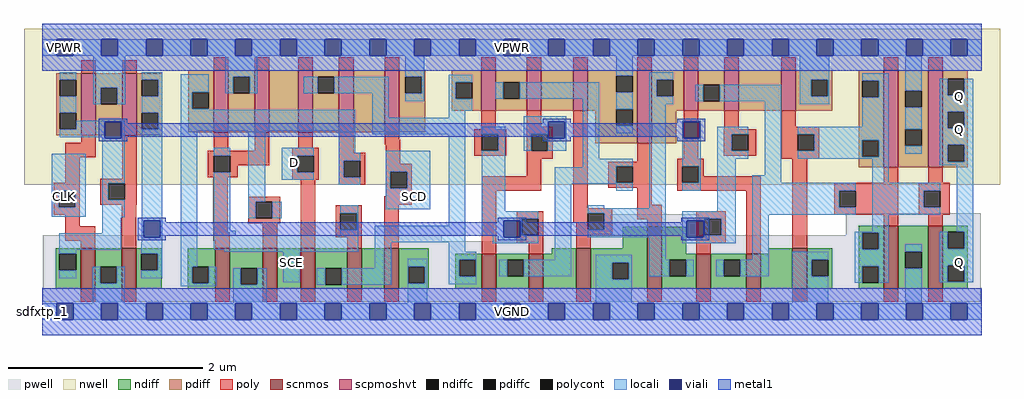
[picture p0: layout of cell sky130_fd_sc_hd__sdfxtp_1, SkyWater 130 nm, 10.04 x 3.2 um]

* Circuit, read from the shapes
.subckt sky130_fd_sc_hd__sdfxtp_1 CLK D SCD SCE VGND VNB VPB VPWR Q
XM1 VGND CLK n1 VNB sky130_fd_pr__nfet_01v8 w=0.42 l=0.15
XM2 n2 n1 VGND VNB sky130_fd_pr__nfet_01v8 w=0.42 l=0.15
XM3 VGND SCE n3 VNB sky130_fd_pr__nfet_01v8 w=0.42 l=0.15
XM4 n4 n3 VGND VNB sky130_fd_pr__nfet_01v8 w=0.42 l=0.15
XM5 n5 D n4 VNB sky130_fd_pr__nfet_01v8 w=0.42 l=0.15
XM6 n6 SCE n5 VNB sky130_fd_pr__nfet_01v8 w=0.42 l=0.15
XM7 VGND SCD n6 VNB sky130_fd_pr__nfet_01v8 w=0.42 l=0.15
XM8 n7 n1 n5 VNB sky130_fd_pr__nfet_01v8 w=0.36 l=0.15
XM9 n8 n2 n7 VNB sky130_fd_pr__nfet_01v8 w=0.36 l=0.15
XM10 VGND n9 n8 VNB sky130_fd_pr__nfet_01v8 w=0.42 l=0.15
XM11 n9 n7 VGND VNB sky130_fd_pr__nfet_01v8 w=0.64 l=0.15
XM12 n10 n2 n9 VNB sky130_fd_pr__nfet_01v8 w=0.36 l=0.15
XM13 n11 n1 n10 VNB sky130_fd_pr__nfet_01v8 w=0.36 l=0.15
XM14 VGND n12 n11 VNB sky130_fd_pr__nfet_01v8 w=0.42 l=0.15
XM15 VGND n10 n12 VNB sky130_fd_pr__nfet_01v8 w=0.65 l=0.15
XM16 Q n12 VGND VNB sky130_fd_pr__nfet_01v8 w=0.65 l=0.15
XM17 VPWR CLK n1 VPB sky130_fd_pr__pfet_01v8_hvt w=0.64 l=0.15
XM18 n2 n1 VPWR VPB sky130_fd_pr__pfet_01v8_hvt w=0.64 l=0.15
XM19 VPWR SCE n3 VPB sky130_fd_pr__pfet_01v8_hvt w=0.64 l=0.15
XM20 n13 SCE VPWR VPB sky130_fd_pr__pfet_01v8_hvt w=0.64 l=0.15
XM21 n5 D n13 VPB sky130_fd_pr__pfet_01v8_hvt w=0.64 l=0.15
XM22 n14 n3 n5 VPB sky130_fd_pr__pfet_01v8_hvt w=0.64 l=0.15
XM23 VPWR SCD n14 VPB sky130_fd_pr__pfet_01v8_hvt w=0.64 l=0.15
XM24 n7 n2 n5 VPB sky130_fd_pr__pfet_01v8_hvt w=0.42 l=0.15
XM25 n15 n1 n7 VPB sky130_fd_pr__pfet_01v8_hvt w=0.42 l=0.15
XM26 VPWR n9 n15 VPB sky130_fd_pr__pfet_01v8_hvt w=0.42 l=0.15
XM27 n9 n7 VPWR VPB sky130_fd_pr__pfet_01v8_hvt w=0.75 l=0.15
XM28 n10 n1 n9 VPB sky130_fd_pr__pfet_01v8_hvt w=0.42 l=0.15
XM29 n16 n2 n10 VPB sky130_fd_pr__pfet_01v8_hvt w=0.42 l=0.15
XM30 VPWR n12 n16 VPB sky130_fd_pr__pfet_01v8_hvt w=0.42 l=0.15
XM31 VPWR n10 n12 VPB sky130_fd_pr__pfet_01v8_hvt w=1 l=0.15
XM32 Q n12 VPWR VPB sky130_fd_pr__pfet_01v8_hvt w=1 l=0.15
.ends

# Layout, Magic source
magic
tech sky130B
magscale 1 2
<< nwell >>
rect -38 261 1970 582
<< pwell >>
rect 1168 157 1350 201
rect 1653 157 1930 203
rect 1 145 821 157
rect 1022 145 1930 157
rect 1 21 1930 145
rect 29 -17 63 21
<< scnmos >>
rect 79 47 109 131
rect 163 47 193 131
rect 355 47 385 131
rect 453 47 483 131
rect 531 47 561 131
rect 627 47 657 131
rect 703 47 733 131
rect 904 47 934 119
rect 1000 47 1030 119
rect 1098 47 1128 131
rect 1244 47 1274 175
rect 1345 47 1375 119
rect 1448 47 1478 119
rect 1543 47 1573 131
rect 1731 47 1761 177
rect 1822 47 1852 177
<< scpmoshvt >>
rect 80 363 110 491
rect 164 363 194 491
rect 352 369 382 497
rect 437 369 467 497
rect 526 369 556 497
rect 610 369 640 497
rect 704 369 734 497
rect 903 413 933 497
rect 996 413 1026 497
rect 1092 413 1122 497
rect 1224 347 1254 497
rect 1319 413 1349 497
rect 1403 413 1433 497
rect 1520 413 1550 497
rect 1731 297 1761 497
rect 1822 297 1852 497
<< ndiff >>
rect 27 119 79 131
rect 27 85 35 119
rect 69 85 79 119
rect 27 47 79 85
rect 109 93 163 131
rect 109 59 119 93
rect 153 59 163 93
rect 109 47 163 59
rect 193 119 245 131
rect 193 85 203 119
rect 237 85 245 119
rect 193 47 245 85
rect 299 93 355 131
rect 299 59 308 93
rect 342 59 355 93
rect 299 47 355 59
rect 385 89 453 131
rect 385 55 408 89
rect 442 55 453 89
rect 385 47 453 55
rect 483 47 531 131
rect 561 89 627 131
rect 561 55 582 89
rect 616 55 627 89
rect 561 47 627 55
rect 657 47 703 131
rect 733 93 795 131
rect 1194 131 1244 175
rect 1048 119 1098 131
rect 733 59 753 93
rect 787 59 795 93
rect 733 47 795 59
rect 849 107 904 119
rect 849 73 857 107
rect 891 73 904 107
rect 849 47 904 73
rect 934 107 1000 119
rect 934 73 956 107
rect 990 73 1000 107
rect 934 47 1000 73
rect 1030 47 1098 119
rect 1128 101 1244 131
rect 1128 67 1172 101
rect 1206 67 1244 101
rect 1128 47 1244 67
rect 1274 119 1324 175
rect 1679 162 1731 177
rect 1493 119 1543 131
rect 1274 107 1345 119
rect 1274 73 1290 107
rect 1324 73 1345 107
rect 1274 47 1345 73
rect 1375 107 1448 119
rect 1375 73 1402 107
rect 1436 73 1448 107
rect 1375 47 1448 73
rect 1478 47 1543 119
rect 1573 107 1625 131
rect 1573 73 1583 107
rect 1617 73 1625 107
rect 1573 47 1625 73
rect 1679 128 1687 162
rect 1721 128 1731 162
rect 1679 94 1731 128
rect 1679 60 1687 94
rect 1721 60 1731 94
rect 1679 47 1731 60
rect 1761 123 1822 177
rect 1761 89 1775 123
rect 1809 89 1822 123
rect 1761 47 1822 89
rect 1852 164 1904 177
rect 1852 130 1862 164
rect 1896 130 1904 164
rect 1852 96 1904 130
rect 1852 62 1862 96
rect 1896 62 1904 96
rect 1852 47 1904 62
<< pdiff >>
rect 28 477 80 491
rect 28 443 36 477
rect 70 443 80 477
rect 28 409 80 443
rect 28 375 36 409
rect 70 375 80 409
rect 28 363 80 375
rect 110 461 164 491
rect 110 427 120 461
rect 154 427 164 461
rect 110 363 164 427
rect 194 477 246 491
rect 194 443 204 477
rect 238 443 246 477
rect 194 409 246 443
rect 194 375 204 409
rect 238 375 246 409
rect 194 363 246 375
rect 300 452 352 497
rect 300 418 308 452
rect 342 418 352 452
rect 300 369 352 418
rect 382 483 437 497
rect 382 449 392 483
rect 426 449 437 483
rect 382 369 437 449
rect 467 369 526 497
rect 556 483 610 497
rect 556 449 566 483
rect 600 449 610 483
rect 556 369 610 449
rect 640 369 704 497
rect 734 483 788 497
rect 734 449 746 483
rect 780 449 788 483
rect 734 369 788 449
rect 842 472 903 497
rect 842 438 850 472
rect 884 438 903 472
rect 842 413 903 438
rect 933 472 996 497
rect 933 438 948 472
rect 982 438 996 472
rect 933 413 996 438
rect 1026 413 1092 497
rect 1122 485 1224 497
rect 1122 451 1180 485
rect 1214 451 1224 485
rect 1122 417 1224 451
rect 1122 413 1180 417
rect 1137 383 1180 413
rect 1214 383 1224 417
rect 1137 347 1224 383
rect 1254 477 1319 497
rect 1254 443 1264 477
rect 1298 443 1319 477
rect 1254 413 1319 443
rect 1349 467 1403 497
rect 1349 433 1359 467
rect 1393 433 1403 467
rect 1349 413 1403 433
rect 1433 413 1520 497
rect 1550 477 1625 497
rect 1550 443 1582 477
rect 1616 443 1625 477
rect 1550 413 1625 443
rect 1679 475 1731 497
rect 1679 441 1687 475
rect 1721 441 1731 475
rect 1254 347 1304 413
rect 1679 353 1731 441
rect 1679 319 1687 353
rect 1721 319 1731 353
rect 1679 297 1731 319
rect 1761 455 1822 497
rect 1761 421 1775 455
rect 1809 421 1822 455
rect 1761 375 1822 421
rect 1761 341 1775 375
rect 1809 341 1822 375
rect 1761 297 1822 341
rect 1852 479 1904 497
rect 1852 445 1862 479
rect 1896 445 1904 479
rect 1852 411 1904 445
rect 1852 377 1862 411
rect 1896 377 1904 411
rect 1852 343 1904 377
rect 1852 309 1862 343
rect 1896 309 1904 343
rect 1852 297 1904 309
<< ndiffc >>
rect 35 85 69 119
rect 119 59 153 93
rect 203 85 237 119
rect 308 59 342 93
rect 408 55 442 89
rect 582 55 616 89
rect 753 59 787 93
rect 857 73 891 107
rect 956 73 990 107
rect 1172 67 1206 101
rect 1290 73 1324 107
rect 1402 73 1436 107
rect 1583 73 1617 107
rect 1687 128 1721 162
rect 1687 60 1721 94
rect 1775 89 1809 123
rect 1862 130 1896 164
rect 1862 62 1896 96
<< pdiffc >>
rect 36 443 70 477
rect 36 375 70 409
rect 120 427 154 461
rect 204 443 238 477
rect 204 375 238 409
rect 308 418 342 452
rect 392 449 426 483
rect 566 449 600 483
rect 746 449 780 483
rect 850 438 884 472
rect 948 438 982 472
rect 1180 451 1214 485
rect 1180 383 1214 417
rect 1264 443 1298 477
rect 1359 433 1393 467
rect 1582 443 1616 477
rect 1687 441 1721 475
rect 1687 319 1721 353
rect 1775 421 1809 455
rect 1775 341 1809 375
rect 1862 445 1896 479
rect 1862 377 1896 411
rect 1862 309 1896 343
<< poly >>
rect 80 491 110 517
rect 164 491 194 517
rect 352 497 382 523
rect 437 497 467 523
rect 526 497 556 523
rect 610 497 640 523
rect 704 497 734 523
rect 903 497 933 523
rect 996 497 1026 523
rect 1092 497 1122 523
rect 1224 497 1254 523
rect 1319 497 1349 523
rect 1403 497 1433 523
rect 1520 497 1550 523
rect 1731 497 1761 523
rect 1822 497 1852 523
rect 903 375 933 413
rect 996 381 1026 413
rect 80 348 110 363
rect 47 318 110 348
rect 47 265 77 318
rect 164 274 194 363
rect 352 331 382 369
rect 437 331 467 369
rect 526 337 556 369
rect 340 321 467 331
rect 340 287 352 321
rect 386 301 467 321
rect 514 321 568 337
rect 386 287 402 301
rect 340 277 402 287
rect 514 287 524 321
rect 558 287 568 321
rect 23 249 77 265
rect 23 215 33 249
rect 67 215 77 249
rect 119 264 194 274
rect 119 230 135 264
rect 169 230 194 264
rect 119 220 194 230
rect 23 199 77 215
rect 47 176 77 199
rect 47 146 109 176
rect 79 131 109 146
rect 163 131 193 220
rect 351 163 381 277
rect 514 271 568 287
rect 610 327 640 369
rect 704 354 734 369
rect 888 365 954 375
rect 704 343 736 354
rect 610 311 664 327
rect 610 277 620 311
rect 654 277 664 311
rect 423 226 489 236
rect 423 192 439 226
rect 473 192 489 226
rect 423 182 489 192
rect 351 146 385 163
rect 355 131 385 146
rect 453 131 483 182
rect 531 131 561 271
rect 610 261 664 277
rect 706 304 736 343
rect 888 331 904 365
rect 938 331 954 365
rect 888 321 954 331
rect 996 365 1050 381
rect 996 331 1006 365
rect 1040 331 1050 365
rect 996 315 1050 331
rect 706 288 760 304
rect 706 254 716 288
rect 750 254 760 288
rect 996 279 1026 315
rect 706 238 760 254
rect 703 220 760 238
rect 904 249 1026 279
rect 603 203 657 219
rect 603 169 613 203
rect 647 169 657 203
rect 603 153 657 169
rect 627 131 657 153
rect 703 131 733 220
rect 904 119 934 249
rect 1092 213 1122 413
rect 1224 309 1254 347
rect 1319 315 1349 413
rect 1403 375 1433 413
rect 1520 381 1550 413
rect 1402 365 1468 375
rect 1402 331 1418 365
rect 1452 331 1468 365
rect 1402 321 1468 331
rect 1520 365 1598 381
rect 1520 331 1554 365
rect 1588 331 1598 365
rect 1520 315 1598 331
rect 1164 299 1254 309
rect 1164 265 1180 299
rect 1214 265 1254 299
rect 1164 255 1254 265
rect 1224 220 1254 255
rect 1306 299 1360 315
rect 1306 265 1316 299
rect 1350 279 1360 299
rect 1350 265 1478 279
rect 1306 249 1478 265
rect 976 191 1030 207
rect 976 157 986 191
rect 1020 157 1030 191
rect 1092 203 1172 213
rect 1092 183 1122 203
rect 976 141 1030 157
rect 1000 119 1030 141
rect 1098 169 1122 183
rect 1156 169 1172 203
rect 1224 190 1274 220
rect 1244 175 1274 190
rect 1345 191 1406 207
rect 1098 159 1172 169
rect 1098 131 1128 159
rect 1345 157 1362 191
rect 1396 157 1406 191
rect 1345 141 1406 157
rect 1345 119 1375 141
rect 1448 119 1478 249
rect 1543 131 1573 315
rect 1731 265 1761 297
rect 1822 265 1852 297
rect 1629 249 1761 265
rect 1629 215 1639 249
rect 1673 215 1761 249
rect 1629 199 1761 215
rect 1803 249 1867 265
rect 1803 215 1813 249
rect 1847 215 1867 249
rect 1803 199 1867 215
rect 1731 177 1761 199
rect 1822 177 1852 199
rect 79 21 109 47
rect 163 21 193 47
rect 355 21 385 47
rect 453 21 483 47
rect 531 21 561 47
rect 627 21 657 47
rect 703 21 733 47
rect 904 21 934 47
rect 1000 21 1030 47
rect 1098 21 1128 47
rect 1244 21 1274 47
rect 1345 21 1375 47
rect 1448 21 1478 47
rect 1543 21 1573 47
rect 1731 21 1761 47
rect 1822 21 1852 47
<< polycont >>
rect 352 287 386 321
rect 524 287 558 321
rect 33 215 67 249
rect 135 230 169 264
rect 620 277 654 311
rect 439 192 473 226
rect 904 331 938 365
rect 1006 331 1040 365
rect 716 254 750 288
rect 613 169 647 203
rect 1418 331 1452 365
rect 1554 331 1588 365
rect 1180 265 1214 299
rect 1316 265 1350 299
rect 986 157 1020 191
rect 1122 169 1156 203
rect 1362 157 1396 191
rect 1639 215 1673 249
rect 1813 215 1847 249
<< locali >>
rect 0 527 29 561
rect 63 527 121 561
rect 155 527 213 561
rect 247 527 305 561
rect 339 527 397 561
rect 431 527 489 561
rect 523 527 581 561
rect 615 527 673 561
rect 707 527 765 561
rect 799 527 857 561
rect 891 527 949 561
rect 983 527 1041 561
rect 1075 527 1133 561
rect 1167 527 1225 561
rect 1259 527 1317 561
rect 1351 527 1409 561
rect 1443 527 1501 561
rect 1535 527 1593 561
rect 1627 527 1685 561
rect 1719 527 1777 561
rect 1811 527 1869 561
rect 1903 527 1932 561
rect 36 477 70 493
rect 36 409 70 443
rect 104 461 170 527
rect 104 427 120 461
rect 154 427 170 461
rect 204 477 246 493
rect 238 443 246 477
rect 204 409 246 443
rect 70 391 169 393
rect 70 375 128 391
rect 36 359 128 375
rect 123 357 128 359
rect 162 357 169 391
rect 19 249 89 325
rect 19 215 33 249
rect 67 215 89 249
rect 19 195 89 215
rect 123 264 169 357
rect 123 230 135 264
rect 123 194 169 230
rect 238 375 246 409
rect 123 161 162 194
rect 35 127 162 161
rect 204 187 246 375
rect 204 153 208 187
rect 242 153 246 187
rect 204 143 246 153
rect 35 119 69 127
rect 203 119 246 143
rect 35 69 69 85
rect 103 59 119 93
rect 153 59 169 93
rect 237 85 246 119
rect 203 69 246 85
rect 284 452 342 489
rect 284 418 308 452
rect 376 483 442 527
rect 746 483 785 527
rect 376 449 392 483
rect 426 449 442 483
rect 538 449 566 483
rect 600 449 712 483
rect 284 415 342 418
rect 284 372 644 415
rect 284 93 318 372
rect 352 321 386 337
rect 352 167 386 287
rect 423 226 458 372
rect 492 321 558 337
rect 492 287 524 321
rect 492 271 558 287
rect 610 327 644 372
rect 678 399 712 449
rect 780 449 785 483
rect 746 433 785 449
rect 836 472 884 488
rect 1180 485 1214 527
rect 836 438 850 472
rect 932 438 948 472
rect 982 438 1146 472
rect 836 413 884 438
rect 836 399 870 413
rect 678 365 870 399
rect 990 391 1078 402
rect 610 311 654 327
rect 610 277 620 311
rect 610 261 654 277
rect 706 288 798 331
rect 706 254 716 288
rect 750 254 798 288
rect 423 192 439 226
rect 473 192 492 226
rect 613 203 650 219
rect 706 211 798 254
rect 647 169 650 203
rect 836 177 870 365
rect 352 157 398 167
rect 613 157 650 169
rect 352 127 650 157
rect 374 123 650 127
rect 684 143 870 177
rect 904 365 952 381
rect 938 331 952 365
rect 990 365 1041 391
rect 990 331 1006 365
rect 1040 357 1041 365
rect 1075 357 1078 391
rect 1040 331 1078 357
rect 904 207 952 331
rect 1112 315 1146 438
rect 1180 417 1214 451
rect 1180 367 1214 383
rect 1248 477 1298 493
rect 1248 443 1264 477
rect 1558 477 1619 527
rect 1248 427 1298 443
rect 1343 433 1359 467
rect 1393 433 1520 467
rect 1112 299 1214 315
rect 1112 297 1180 299
rect 1054 265 1180 297
rect 1054 263 1214 265
rect 904 191 1020 207
rect 904 187 986 191
rect 904 156 949 187
rect 103 17 169 59
rect 284 59 308 93
rect 342 59 358 93
rect 284 52 358 59
rect 392 55 408 89
rect 442 55 461 89
rect 495 61 530 123
rect 684 89 718 143
rect 836 123 870 143
rect 926 153 949 156
rect 983 157 986 187
rect 983 153 1020 157
rect 926 141 1020 153
rect 564 55 582 89
rect 616 55 718 89
rect 752 93 792 109
rect 752 59 753 93
rect 787 59 792 93
rect 392 17 461 55
rect 752 17 792 59
rect 836 107 892 123
rect 1054 107 1088 263
rect 1180 249 1214 263
rect 1122 213 1156 219
rect 1248 213 1282 427
rect 1316 391 1354 393
rect 1316 357 1318 391
rect 1352 357 1354 391
rect 1316 299 1354 357
rect 1350 265 1354 299
rect 1316 249 1354 265
rect 1388 365 1452 381
rect 1388 331 1418 365
rect 1388 315 1452 331
rect 1122 203 1282 213
rect 1388 207 1426 315
rect 1486 281 1520 433
rect 1558 443 1582 477
rect 1616 443 1619 477
rect 1558 427 1619 443
rect 1687 475 1741 491
rect 1721 441 1741 475
rect 1687 381 1741 441
rect 1554 365 1741 381
rect 1588 353 1741 365
rect 1588 331 1687 353
rect 1554 319 1687 331
rect 1721 319 1741 353
rect 1775 455 1809 527
rect 1775 375 1809 421
rect 1775 325 1809 341
rect 1846 445 1862 479
rect 1896 445 1915 479
rect 1846 411 1915 445
rect 1846 377 1862 411
rect 1896 377 1915 411
rect 1846 343 1915 377
rect 1554 315 1741 319
rect 1156 169 1282 203
rect 1122 153 1282 169
rect 836 73 857 107
rect 891 73 892 107
rect 940 73 956 107
rect 990 73 1088 107
rect 1138 101 1212 117
rect 836 57 892 73
rect 1138 67 1172 101
rect 1206 67 1212 101
rect 1248 107 1282 153
rect 1316 191 1426 207
rect 1316 187 1362 191
rect 1316 153 1326 187
rect 1360 157 1362 187
rect 1396 157 1426 191
rect 1360 153 1426 157
rect 1316 141 1426 153
rect 1460 265 1520 281
rect 1707 265 1741 315
rect 1846 309 1862 343
rect 1896 309 1915 343
rect 1846 301 1915 309
rect 1460 249 1673 265
rect 1460 215 1639 249
rect 1460 199 1673 215
rect 1707 249 1847 265
rect 1707 215 1813 249
rect 1707 199 1847 215
rect 1460 107 1494 199
rect 1707 165 1741 199
rect 1671 162 1741 165
rect 1881 164 1915 301
rect 1671 128 1687 162
rect 1721 128 1741 162
rect 1248 73 1290 107
rect 1324 73 1340 107
rect 1386 73 1402 107
rect 1436 73 1494 107
rect 1543 107 1617 123
rect 1543 73 1583 107
rect 1138 17 1212 67
rect 1543 17 1617 73
rect 1671 94 1741 128
rect 1671 60 1687 94
rect 1721 60 1741 94
rect 1775 123 1809 139
rect 1775 17 1809 89
rect 1846 130 1862 164
rect 1896 130 1915 164
rect 1846 96 1915 130
rect 1846 62 1862 96
rect 1896 62 1915 96
rect 1846 61 1915 62
rect 0 -17 29 17
rect 63 -17 121 17
rect 155 -17 213 17
rect 247 -17 305 17
rect 339 -17 397 17
rect 431 -17 489 17
rect 523 -17 581 17
rect 615 -17 673 17
rect 707 -17 765 17
rect 799 -17 857 17
rect 891 -17 949 17
rect 983 -17 1041 17
rect 1075 -17 1133 17
rect 1167 -17 1225 17
rect 1259 -17 1317 17
rect 1351 -17 1409 17
rect 1443 -17 1501 17
rect 1535 -17 1593 17
rect 1627 -17 1685 17
rect 1719 -17 1777 17
rect 1811 -17 1869 17
rect 1903 -17 1932 17
<< viali >>
rect 29 527 63 561
rect 121 527 155 561
rect 213 527 247 561
rect 305 527 339 561
rect 397 527 431 561
rect 489 527 523 561
rect 581 527 615 561
rect 673 527 707 561
rect 765 527 799 561
rect 857 527 891 561
rect 949 527 983 561
rect 1041 527 1075 561
rect 1133 527 1167 561
rect 1225 527 1259 561
rect 1317 527 1351 561
rect 1409 527 1443 561
rect 1501 527 1535 561
rect 1593 527 1627 561
rect 1685 527 1719 561
rect 1777 527 1811 561
rect 1869 527 1903 561
rect 128 357 162 391
rect 208 153 242 187
rect 1041 357 1075 391
rect 949 153 983 187
rect 1318 357 1352 391
rect 1326 153 1360 187
rect 29 -17 63 17
rect 121 -17 155 17
rect 213 -17 247 17
rect 305 -17 339 17
rect 397 -17 431 17
rect 489 -17 523 17
rect 581 -17 615 17
rect 673 -17 707 17
rect 765 -17 799 17
rect 857 -17 891 17
rect 949 -17 983 17
rect 1041 -17 1075 17
rect 1133 -17 1167 17
rect 1225 -17 1259 17
rect 1317 -17 1351 17
rect 1409 -17 1443 17
rect 1501 -17 1535 17
rect 1593 -17 1627 17
rect 1685 -17 1719 17
rect 1777 -17 1811 17
rect 1869 -17 1903 17
<< metal1 >>
rect 0 561 1932 592
rect 0 527 29 561
rect 63 527 121 561
rect 155 527 213 561
rect 247 527 305 561
rect 339 527 397 561
rect 431 527 489 561
rect 523 527 581 561
rect 615 527 673 561
rect 707 527 765 561
rect 799 527 857 561
rect 891 527 949 561
rect 983 527 1041 561
rect 1075 527 1133 561
rect 1167 527 1225 561
rect 1259 527 1317 561
rect 1351 527 1409 561
rect 1443 527 1501 561
rect 1535 527 1593 561
rect 1627 527 1685 561
rect 1719 527 1777 561
rect 1811 527 1869 561
rect 1903 527 1932 561
rect 0 496 1932 527
rect 116 391 174 397
rect 116 357 128 391
rect 162 388 174 391
rect 1029 391 1087 397
rect 1029 388 1041 391
rect 162 360 1041 388
rect 162 357 174 360
rect 116 351 174 357
rect 1029 357 1041 360
rect 1075 388 1087 391
rect 1306 391 1364 397
rect 1306 388 1318 391
rect 1075 360 1318 388
rect 1075 357 1087 360
rect 1029 351 1087 357
rect 1306 357 1318 360
rect 1352 357 1364 391
rect 1306 351 1364 357
rect 196 187 254 193
rect 196 153 208 187
rect 242 184 254 187
rect 937 187 995 193
rect 937 184 949 187
rect 242 156 949 184
rect 242 153 254 156
rect 196 147 254 153
rect 937 153 949 156
rect 983 184 995 187
rect 1314 187 1372 193
rect 1314 184 1326 187
rect 983 156 1326 184
rect 983 153 995 156
rect 937 147 995 153
rect 1314 153 1326 156
rect 1360 153 1372 187
rect 1314 147 1372 153
rect 0 17 1932 48
rect 0 -17 29 17
rect 63 -17 121 17
rect 155 -17 213 17
rect 247 -17 305 17
rect 339 -17 397 17
rect 431 -17 489 17
rect 523 -17 581 17
rect 615 -17 673 17
rect 707 -17 765 17
rect 799 -17 857 17
rect 891 -17 949 17
rect 983 -17 1041 17
rect 1075 -17 1133 17
rect 1167 -17 1225 17
rect 1259 -17 1317 17
rect 1351 -17 1409 17
rect 1443 -17 1501 17
rect 1535 -17 1593 17
rect 1627 -17 1685 17
rect 1719 -17 1777 17
rect 1811 -17 1869 17
rect 1903 -17 1932 17
rect 0 -48 1932 -17
<< labels >>
rlabel comment s 0 0 0 0 4 sdfxtp_1
flabel metal1 s 29 527 63 561 0 FreeSans 200 0 0 0 VPWR
port 8 nsew power bidirectional abutment
flabel metal1 s 29 -17 63 17 0 FreeSans 200 0 0 0 VGND
port 5 nsew ground bidirectional abutment
flabel locali s 1869 425 1903 459 0 FreeSans 200 0 0 0 Q
port 9 nsew signal output
flabel locali s 1869 357 1903 391 0 FreeSans 200 0 0 0 Q
port 9 nsew signal output
flabel locali s 1869 85 1903 119 0 FreeSans 200 0 0 0 Q
port 9 nsew signal output
flabel locali s 29 221 63 255 0 FreeSans 400 0 0 0 CLK
port 1 nsew clock input
flabel locali s 495 85 529 119 0 FreeSans 300 0 0 0 SCE
port 4 nsew signal input
flabel locali s 501 289 535 323 0 FreeSans 300 0 0 0 D
port 2 nsew signal input
flabel locali s 749 221 783 255 0 FreeSans 300 0 0 0 SCD
port 3 nsew signal input
flabel nwell s 29 527 63 561 0 FreeSans 200 0 0 0 VPB
port 7 nsew power bidirectional
flabel nwell s 46 544 46 544 0 FreeSans 200 0 0 0 VPB
flabel pwell s 29 -17 63 17 0 FreeSans 200 0 0 0 VNB
port 6 nsew ground bidirectional
flabel pwell s 46 0 46 0 0 FreeSans 200 0 0 0 VNB
rlabel metal1 s 0 -48 1932 48 1 VGND
port 5 nsew ground bidirectional abutment
rlabel metal1 s 0 496 1932 592 1 VPWR
port 8 nsew power bidirectional abutment
<< properties >>
string FIXED_BBOX 0 0 1932 544
string GDS_END 376304
string GDS_FILE $PDKPATH/libs.ref/sky130_fd_sc_hd/gds/sky130_fd_sc_hd.gds
string GDS_START 361098
string LEFclass CORE
string LEFsite unithd
string LEFsymmetry X Y R90
string path 0.000 2.720 9.660 2.720 
<< end >>
